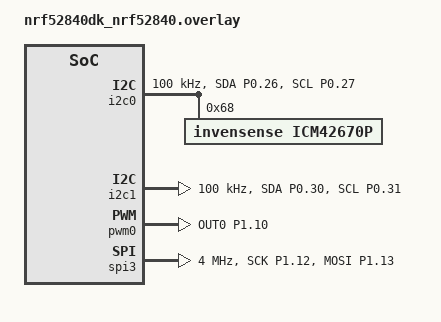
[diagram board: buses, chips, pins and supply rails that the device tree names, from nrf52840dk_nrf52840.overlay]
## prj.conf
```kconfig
#
# Copyright (c) 2019 Nordic Semiconductor ASA
#
# SPDX-License-Identifier: LicenseRef-Nordic-5-Clause
#
CONFIG_NCS_SAMPLES_DEFAULTS=y
CONFIG_ESB=y
CONFIG_DK_LIBRARY=y
CONFIG_CLOCK_CONTROL=y

# Logging
CONFIG_LOG=y
CONFIG_CBPRINTF_FP_SUPPORT=y

# I2C Support
CONFIG_I2C=y

# GPIO Support
CONFIG_GPIO=y

# Sensor Subsystem
CONFIG_SENSOR=y
CONFIG_SENSOR_LOG_LEVEL_INF=y

# ICM-42670-P IMU Driver
CONFIG_ICM42X70=y
CONFIG_ICM42X70_TRIGGER_NONE=y

# PWM Support for Vibration Motor
CONFIG_PWM=y

# SPI Support for APA102 LEDs
CONFIG_SPI=y
```

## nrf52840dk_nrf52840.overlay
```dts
/*
 * Device Tree Overlay for Nordic Airpad Demo
 * Board: nRF52840 DK
 * IMU: ICM-42670-P on I2C0
 */

/* I2C Pin Configuration */
&pinctrl {
	i2c0_default: i2c0_default {
		group1 {
			psels = <NRF_PSEL(TWIM_SDA, 0, 26)>,
			        <NRF_PSEL(TWIM_SCL, 0, 27)>;
			bias-pull-up;
		};
	};

	i2c0_sleep: i2c0_sleep {
		group1 {
			psels = <NRF_PSEL(TWIM_SDA, 0, 26)>,
			        <NRF_PSEL(TWIM_SCL, 0, 27)>;
			low-power-enable;
			bias-pull-up;
		};
	};

	/* I2C1 Pin Configuration for MGC3130 */
	i2c1_default: i2c1_default {
		group1 {
			psels = <NRF_PSEL(TWIM_SDA, 0, 30)>,
			        <NRF_PSEL(TWIM_SCL, 0, 31)>;
			bias-pull-up;
		};
	};

	i2c1_sleep: i2c1_sleep {
		group1 {
			psels = <NRF_PSEL(TWIM_SDA, 0, 30)>,
			        <NRF_PSEL(TWIM_SCL, 0, 31)>;
			low-power-enable;
			bias-pull-up;
		};
	};

	/* PWM0 Pin Configuration for Vibration Motor */
	pwm0_default: pwm0_default {
		group1 {
			psels = <NRF_PSEL(PWM_OUT0, 1, 10)>;  /* P1.10 */
		};
	};

	pwm0_sleep: pwm0_sleep {
		group1 {
			psels = <NRF_PSEL(PWM_OUT0, 1, 10)>;
			low-power-enable;
		};
	};

	/* SPI3 Pin Configuration for APA102 LEDs */
	spi3_default: spi3_default {
		group1 {
			psels = <NRF_PSEL(SPIM_SCK, 1, 12)>,   /* P1.12 - CKI (Clock) */
			        <NRF_PSEL(SPIM_MOSI, 1, 13)>;  /* P1.13 - SDI (Data) */
		};
	};

	spi3_sleep: spi3_sleep {
		group1 {
			psels = <NRF_PSEL(SPIM_SCK, 1, 12)>,
			        <NRF_PSEL(SPIM_MOSI, 1, 13)>;
			low-power-enable;
		};
	};
};

/* I2C Bus Configuration */
&i2c0 {
	compatible = "nordic,nrf-twim";
	status = "okay";
	pinctrl-0 = <&i2c0_default>;
	pinctrl-1 = <&i2c0_sleep>;
	pinctrl-names = "default", "sleep";
	clock-frequency = <I2C_BITRATE_STANDARD>;  /* 100 kHz */

	/* ICM-42670-P IMU */
	icm42670p: icm42670p@68 {
		compatible = "invensense,icm42670p";
		reg = <0x68>;
		status = "okay";

		/* Sensor configuration */
		accel-hz = <100>;
		accel-fs = <16>;    /* ±16g full scale */
		gyro-hz = <100>;
		gyro-fs = <2000>;   /* ±2000 dps full scale */
	};
};

/* Disable SPI1 (conflicts with I2C1 - same hardware instance) */
&spi1 {
	status = "disabled";
};

/* I2C1 Bus Configuration for MGC3130 */
&i2c1 {
	compatible = "nordic,nrf-twim";
	status = "okay";
	pinctrl-0 = <&i2c1_default>;
	pinctrl-1 = <&i2c1_sleep>;
	pinctrl-names = "default", "sleep";
	clock-frequency = <I2C_BITRATE_STANDARD>;  /* 100 kHz */
};

/* PWM0 Configuration for Vibration Motor */
&pwm0 {
	status = "okay";
	pinctrl-0 = <&pwm0_default>;
	pinctrl-1 = <&pwm0_sleep>;
	pinctrl-names = "default", "sleep";
};

/* SPI3 Configuration for APA102 LEDs */
&spi3 {
	compatible = "nordic,nrf-spim";
	status = "okay";
	pinctrl-0 = <&spi3_default>;
	pinctrl-1 = <&spi3_sleep>;
	pinctrl-names = "default", "sleep";
	clock-frequency = <4000000>;  /* 4 MHz */
};
```

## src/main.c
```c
/*
 * Copyright (c) 2018 Nordic Semiconductor ASA
 *
 * SPDX-License-Identifier: LicenseRef-Nordic-5-Clause
 */
#include <zephyr/drivers/clock_control.h>
#include <zephyr/drivers/clock_control/nrf_clock_control.h>
#include <zephyr/drivers/gpio.h>
#include <zephyr/irq.h>
#include <zephyr/logging/log.h>
#include <nrf.h>
#include <zephyr/device.h>
#include <zephyr/devicetree.h>
#include <zephyr/kernel.h>
#include <zephyr/types.h>
#include <dk_buttons_and_leds.h>
#include "central_thread.h"
#if defined(CONFIG_CLOCK_CONTROL_NRF2)
#include <hal/nrf_lrcconf.h>
#endif
#include <nrf_erratas.h>
#if NRF54L_ERRATA_20_PRESENT
#include <hal/nrf_power.h>
#endif /* NRF54L_ERRATA_20_PRESENT */
#if defined(NRF54LM20A_ENGA_XXAA)
#include <hal/nrf_clock.h>
#endif /* defined(NRF54LM20A_ENGA_XXAA) */

LOG_MODULE_REGISTER(main, CONFIG_ESB_PTX_APP_LOG_LEVEL);

#if defined(CONFIG_CLOCK_CONTROL_NRF)
int clocks_start(void)
{
	int err;
	int res;
	struct onoff_manager *clk_mgr;
	struct onoff_client clk_cli;

	clk_mgr = z_nrf_clock_control_get_onoff(CLOCK_CONTROL_NRF_SUBSYS_HF);
	if (!clk_mgr) {
		LOG_ERR("Unable to get the Clock manager");
		return -ENXIO;
	}

	sys_notify_init_spinwait(&clk_cli.notify);

	err = onoff_request(clk_mgr, &clk_cli);
	if (err < 0) {
		LOG_ERR("Clock request failed: %d", err);
		return err;
	}

	do {
		err = sys_notify_fetch_result(&clk_cli.notify, &res);
		if (!err && res) {
			LOG_ERR("Clock could not be started: %d", res);
			return res;
		}
	} while (err);

#if NRF54L_ERRATA_20_PRESENT
	if (nrf54l_errata_20()) {
		nrf_power_task_trigger(NRF_POWER, NRF_POWER_TASK_CONSTLAT);
	}
#endif /* NRF54L_ERRATA_20_PRESENT */

#if defined(NRF54LM20A_ENGA_XXAA)
	/* MLTPAN-39 */
	nrf_clock_task_trigger(NRF_CLOCK, NRF_CLOCK_TASK_PLLSTART);
#endif

	LOG_DBG("HF clock started");
	return 0;
}

#elif defined(CONFIG_CLOCK_CONTROL_NRF2)

int clocks_start(void)
{
	int err;
	int res;
	const struct device *radio_clk_dev =
		DEVICE_DT_GET_OR_NULL(DT_CLOCKS_CTLR(DT_NODELABEL(radio)));
	struct onoff_client radio_cli;

	/** Keep radio domain powered all the time to reduce latency. */
	nrf_lrcconf_poweron_force_set(NRF_LRCCONF010, NRF_LRCCONF_POWER_DOMAIN_1, true);

	sys_notify_init_spinwait(&radio_cli.notify);

	err = nrf_clock_control_request(radio_clk_dev, NULL, &radio_cli);

	do {
		err = sys_notify_fetch_result(&radio_cli.notify, &res);
		if (!err && res) {
			LOG_ERR("Clock could not be started: %d", res);
			return res;
		}
	} while (err == -EAGAIN);

	nrf_lrcconf_clock_always_run_force_set(NRF_LRCCONF000, 0, true);
	nrf_lrcconf_task_trigger(NRF_LRCCONF000, NRF_LRCCONF_TASK_CLKSTART_0);

	LOG_DBG("HF clock started");
	return 0;
}

#else
BUILD_ASSERT(false, "No Clock Control driver");
#endif /* defined(CONFIG_CLOCK_CONTROL_NRF2) */

int main(void)
{
	int err;

	LOG_INF("Enhanced ShockBurst ptx sample");

	err = clocks_start();
	if (err) {
		return 0;
	}

	err = dk_leds_init();
	if (err) {
		LOG_ERR("LEDs initialization failed, err %d", err);
	}

	err = central_thread_init();
	if (err) {
		LOG_ERR("Central thread initialization failed, err %d", err);
		return 0;
	}

	LOG_INF("Initialization complete - all drivers auto-initialized");
	LOG_INF("Button mapping: BTN1='A', BTN2='B', BTN3='C', BTN4='D'");

	return 0;
}
```

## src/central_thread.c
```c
/*
 * Central Thread Implementation
 *
 * Orchestrates all sensor reading, communication, and output control
 */

#include "central_thread.h"
#include "comm/esb_handler.h"
#include "input/btn_handler.h"
#include "input/mgc_handler.h"
#include "sensors/imu_handler.h"
#include "sensors/imu_fusion.h"
#include "sensors/imu_math.h"
#include "drivers/driver_framework.h"
#include <zephyr/kernel.h>
#include <zephyr/logging/log.h>

LOG_MODULE_REGISTER(central_thread, LOG_LEVEL_INF);

#define CENTRAL_THREAD_STACK_SIZE 4096
#define CENTRAL_THREAD_PRIORITY 5
#define CENTRAL_THREAD_PERIOD_MS 10

/* Driver file descriptors */
static driver_fd_t imu_fd = DRIVER_FD_INVALID;
static driver_fd_t btn_fd = DRIVER_FD_INVALID;
static driver_fd_t mgc_fd = DRIVER_FD_INVALID;
static driver_fd_t esb_fd = DRIVER_FD_INVALID;

/* IMU fusion state */
static imu_fusion_state_t *fusion_state = NULL;

/* Central thread entry point */
static void central_thread_entry(void *p1, void *p2, void *p3)
{
	ssize_t result;
	sensor_data_t sensor_packet;
	uint8_t rx_buf[32];
	uint8_t btn_state_raw;
	mgc3130_esb_state_t mgc_esb_state;

	LOG_INF("Central thread started");

	/* Open all drivers */
	imu_fd = imu_open(0);
	if (imu_fd < 0) {
		LOG_ERR("Failed to open IMU driver: %d", imu_fd);
		return;
	}
	LOG_INF("IMU driver opened with fd=%d", imu_fd);

	btn_fd = btn_open(0);
	if (btn_fd < 0) {
		LOG_ERR("Failed to open button driver: %d", btn_fd);
		imu_close(imu_fd);
		return;
	}
	LOG_INF("Button driver opened with fd=%d", btn_fd);

	mgc_fd = mgc_open();
	if (mgc_fd < 0) {
		LOG_ERR("Failed to open MGC handler: %d", mgc_fd);
		btn_close(btn_fd);
		imu_close(imu_fd);
		return;
	}
	LOG_INF("MGC handler opened with fd=%d", mgc_fd);

	esb_fd = esb_open(0);
	if (esb_fd < 0) {
		LOG_ERR("Failed to open ESB driver: %d", esb_fd);
		mgc_close(mgc_fd);
		btn_close(btn_fd);
		imu_close(imu_fd);
		return;
	}
	LOG_INF("ESB driver opened with fd=%d", esb_fd);

	/* Initialize IMU fusion */
	imu_fusion_config_t fusion_config = {
		.slerp_power = 0.02f,      /* 2% correction per sample */
		.enable_gyro = true,
		.enable_accel = true,
		.sample_rate_hz = 100
	};

	fusion_state = imu_fusion_init(&fusion_config);
	if (!fusion_state) {
		LOG_ERR("Failed to initialize IMU fusion");
		esb_close(esb_fd);
		mgc_close(mgc_fd);
		btn_close(btn_fd);
		imu_close(imu_fd);
		return;
	}
	LOG_INF("IMU fusion initialized (SLERP power: %.2f)",
	        (double)fusion_config.slerp_power);

	/* Initialize MGC ESB state */
	memset(&mgc_esb_state, 0, sizeof(mgc3130_esb_state_t));

	LOG_INF("All drivers opened successfully");

	while (1) {
		/* Read IMU sensor data */
		imu_data_t imu_data;
		imu_fusion_output_t fusion_output = {0};
		result = imu_read(imu_fd, &imu_data, sizeof(imu_data));
		if (result < 0) {
			LOG_WRN("IMU read failed: %d", (int)result);
		} else {
			/*  Accel: m/s², Gyro: rad/s */
			vector3_t accel, gyro;

			accel.x = imu_data.accel_x;
			accel.y = imu_data.accel_y;
			accel.z = imu_data.accel_z;

			gyro.x = imu_data.gyro_x;
			gyro.y = imu_data.gyro_y;
			gyro.z = imu_data.gyro_z;

			/* Get timestamp (convert ms to μs) */
			uint64_t timestamp_us = k_uptime_get() * 1000ULL;

			/* Update fusion */
			int ret = imu_fusion_update(fusion_state, &accel, &gyro,
			                            timestamp_us, &fusion_output);

			if (ret == 0 && fusion_output.valid) {
				/* Log every 10th sample (10Hz) to reduce verbosity */
				static uint32_t log_counter = 0;
				if (++log_counter >= 1000) {
					log_counter = 0;
					LOG_INF("Quat[w:%.3f x:%.3f y:%.3f z:%.3f] "
					        "Euler[R:%.1f° P:%.1f° Y:%.1f°]",
					        (double)fusion_output.orientation.w,
					        (double)fusion_output.orientation.x,
					        (double)fusion_output.orientation.y,
					        (double)fusion_output.orientation.z,
					        (double)(fusion_output.euler.roll * IMU_RAD_TO_DEG),
					        (double)(fusion_output.euler.pitch * IMU_RAD_TO_DEG),
					        (double)(fusion_output.euler.yaw * IMU_RAD_TO_DEG));
				}
			} else {
				LOG_WRN("Fusion update failed: %d", ret);
			}
		}

		/* Read button state */
		result = btn_read(btn_fd, &btn_state_raw, sizeof(btn_state_raw));
		if (result < 0) {
			LOG_WRN("Button read failed: %d", (int)result);
			btn_state_raw = 0;
		}

		/* Poll MGC3130 for sensor data (processes internally) */
		mgc3130_sensor_output_t mgc_sensor_output;
		result = mgc_read(mgc_fd, &mgc_sensor_output, sizeof(mgc_sensor_output));
		if (result < 0 && result != DRIVER_ERR_AGAIN) {
			LOG_WRN("MGC read failed: %d", (int)result);
		}

		/* Get MGC state for ESB transmission */
		result = mgc_ioctl(mgc_fd, MGC_IOCTL_GET_ESB_STATE, &mgc_esb_state);
		if (result < 0) {
			LOG_WRN("MGC ioctl GET_ESB_STATE failed: %d", (int)result);
			/* Keep using previous state */
		}

		/* Build sensor data packet with quaternion */
		sensor_packet.btn_state = btn_state_raw;

		/* Pack MGC state (touch + airwheel) */
		sensor_packet.mgc_state = MGC_PACK_STATE(
			mgc_esb_state.touch_electrodes,
			mgc_esb_state.airwheel_active,
			mgc_esb_state.airwheel_direction_cw,
			mgc_esb_state.airwheel_velocity
		);

		/* Get latest quaternion from fusion output */
		if (fusion_output.valid) {
			/* Convert quaternion float to int16_t with scaling */
			sensor_packet.quat_w = QUAT_FLOAT_TO_INT16(fusion_output.orientation.w);
			sensor_packet.quat_x = QUAT_FLOAT_TO_INT16(fusion_output.orientation.x);
			sensor_packet.quat_y = QUAT_FLOAT_TO_INT16(fusion_output.orientation.y);
			sensor_packet.quat_z = QUAT_FLOAT_TO_INT16(fusion_output.orientation.z);
		} else {
			/* Fusion not ready - send identity quaternion */
			sensor_packet.quat_w = QUAT_FLOAT_TO_INT16(1.0f);
			sensor_packet.quat_x = 0;
			sensor_packet.quat_y = 0;
			sensor_packet.quat_z = 0;
		}

		/* Send sensor data via ESB */
		result = esb_write(esb_fd, &sensor_packet, sizeof(sensor_packet));
		if (result < 0) {
			LOG_ERR("ESB write failed: %d", (int)result);
		}

		/* Check for received ESB data */
		result = esb_read(esb_fd, rx_buf, sizeof(rx_buf));
		if (result > 0) {
			/* Process received data */
			LOG_INF("Received ESB data, len: %d", (int)result);
			LOG_HEXDUMP_INF(rx_buf, result, "RX:");
			/* TODO: Parse and handle LED/vibration commands when implemented */
		} else if (result < 0 && result != DRIVER_ERR_AGAIN) {
			/* Log errors other than "no data available" */
			LOG_WRN("ESB read error: %d", (int)result);
		}

		/* Sleep for 10ms (100Hz) */
		k_sleep(K_MSEC(CENTRAL_THREAD_PERIOD_MS));
	}

	/* Cleanup (never reached for now) */
	if (fusion_state) {
		imu_fusion_destroy(fusion_state);
	}
	esb_close(esb_fd);
	mgc_close(mgc_fd);
	btn_close(btn_fd);
	imu_close(imu_fd);
}

/* Define central thread */
K_THREAD_DEFINE(central_thread, CENTRAL_THREAD_STACK_SIZE,
		central_thread_entry, NULL, NULL, NULL,
		CENTRAL_THREAD_PRIORITY, 0, 0);

int central_thread_init(void)
{
	LOG_INF("Central thread initialized");
	return 0;
}
```

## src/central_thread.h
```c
/*
 * Central Thread Interface
 *
 * Orchestrates all sensor reading, communication, and output control
 */

#ifndef CENTRAL_THREAD_H_
#define CENTRAL_THREAD_H_

/**
 * Initialize central thread
 *
 * Sets up the main orchestration thread that coordinates:
 * - IMU sensor reading
 * - MGC sensor reading
 * - Button state reading
 * - ESB communication (TX/RX)
 * - Output control (LED, vibration)
 *
 * @return 0 on success, negative error code on failure
 */
int central_thread_init(void);

#endif /* CENTRAL_THREAD_H_ */
```
